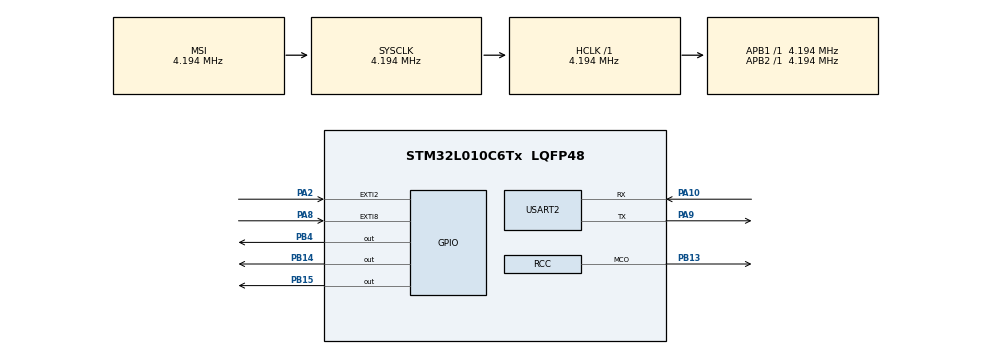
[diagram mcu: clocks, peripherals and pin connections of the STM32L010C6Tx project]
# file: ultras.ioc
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Mcu.Family=STM32L0
Mcu.Name=STM32L010C6Tx
Mcu.Package=LQFP48
NVIC.EXTI2_3_IRQn=true\:0\:0\:false\:false\:true\:true\:true
NVIC.EXTI4_15_IRQn=true\:0\:0\:false\:false\:true\:true\:true
NVIC.TIM21_IRQn=true\:0\:0\:false\:false\:true\:true\:true
NVIC.USART2_IRQn=true\:0\:0\:false\:false\:true\:true\:true
PA10.Mode=Asynchronous
PA10.Signal=USART2_RX
PA13.Mode=Serial_Wire
PA13.Signal=SYS_SWDIO
PA14.Mode=Serial_Wire
PA14.Signal=SYS_SWCLK
PA2.GPIO_ModeDefaultEXTI=GPIO_MODE_IT_RISING
PA2.GPIO_PuPd=GPIO_PULLDOWN
PA2.Signal=GPXTI2
PA8.GPIO_ModeDefaultEXTI=GPIO_MODE_IT_RISING_FALLING
PA8.GPIO_PuPd=GPIO_PULLDOWN
PA8.Signal=GPXTI8
PA9.Mode=Asynchronous
PA9.Signal=USART2_TX
PB13.Mode=Clock-out
PB13.Signal=RCC_MCO
PB14.GPIO_PuPd=GPIO_PULLDOWN
PB14.Signal=GPIO_Output
PB15.GPIO_ModeDefaultOutputPP=GPIO_MODE_OUTPUT_PP
PB15.GPIO_PuPd=GPIO_PULLDOWN
PB15.GPIO_Speed=GPIO_SPEED_FREQ_VERY_HIGH
PB15.Signal=GPIO_Output
PB4.Signal=GPIO_Output
PC14-OSC32_IN.Mode=LSE-External-Oscillator
PC14-OSC32_IN.Signal=RCC_OSC32_IN
PC15-OSC32_OUT.Mode=LSE-External-Oscillator
PC15-OSC32_OUT.Signal=RCC_OSC32_OUT
ProjectManager.HeapSize=0x200
ProjectManager.StackSize=0x400
ProjectManager.TargetToolchain=SW4STM32
RCC.AHBFreq_Value=4194000
RCC.APB1Freq_Value=4194000
RCC.APB1TimFreq_Value=4194000
RCC.APB2Freq_Value=4194000
RCC.APB2TimFreq_Value=4194000
RCC.HCLKFreq_Value=4194000
RCC.HSE_VALUE=8000000
RCC.HSI16_VALUE=16000000
RCC.HSI_VALUE=16000000
RCC.MSIClockRange=RCC_MSIRANGE_6
RCC.MSI_VALUE=4194000
RCC.RTCClockSelection=RCC_RTCCLKSOURCE_LSE
RCC.SYSCLKFreq_VALUE=4194000
RCC.VCOOutputFreq_Value=48000000
TIM21.AutoReloadPreload=TIM_AUTORELOAD_PRELOAD_ENABLE
TIM21.Period=0xff
USART2.VirtualMode=VM_ASYNC
VP_RTC_VS_RTC_Activate.Mode=RTC_Enabled
VP_TIM21_VS_ClockSourceINT.Mode=Internal
board=custom

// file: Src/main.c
/* USER CODE BEGIN Header */
/**
 ******************************************************************************
 * @file           : main.c
 * @brief          : Main program body
 ******************************************************************************
 * @attention
 *
 * <h2><center>&copy; Copyright (c) 2020 STMicroelectronics.
 * All rights reserved.</center></h2>
 *
 * This software component is licensed by ST under BSD 3-Clause license,
 * the "License"; You may not use this file except in compliance with the
 * License. You may obtain a copy of the License at:
 *                        opensource.org/licenses/BSD-3-Clause
 *
 ******************************************************************************
 */
/* USER CODE END Header */

#include "main.h"
#include "rtc.h"
#include "tim.h"
#include "usart.h"
#include "gpio.h"

/* USER CODE BEGIN Includes */
#include "stdio.h"
/* USER CODE END Includes */

/* USER CODE BEGIN PV */
extern int bMeasure;
extern int bTime21;
/* USER CODE END PV */

void SystemClock_Config(void);

/* USER CODE BEGIN 0 */
UART_HandleTypeDef huart2;
uint8_t bKeyDown = 0;
extern TIM_HandleTypeDef htim21;
extern int mCounter;
/* Private function prototypes -----------------------------------------------*/
#ifdef __GNUC__
/* With GCC, small printf (option LD Linker->Libraries->Small printf
 set to 'Yes') calls __io_putchar() */
#define PUTCHAR_PROTOTYPE int __io_putchar(int ch)
#else
#define PUTCHAR_PROTOTYPE int fputc(int ch, FILE *f)
#endif /* __GNUC__ */
/**
 * @brief  Retargets the C library printf function to the USART.
 * @param  None
 * @retval None
 */
PUTCHAR_PROTOTYPE {
	/* Place your implementation of fputc here */
	/* e.g. write a character to the USART2 and Loop until the end of transmission */
	HAL_UART_Transmit(&huart2, (uint8_t *) &ch, 1, 0xFFFF);

	return ch;
}
/* USER CODE END 0 */

int main(void)
{

  /* MCU Configuration--------------------------------------------------------*/

  /* Reset of all peripherals, Initializes the Flash interface and the Systick. */
  HAL_Init();

  /* USER CODE BEGIN Init */
  int nDistance = 0;
  /* USER CODE END Init */

  /* Configure the system clock */
  SystemClock_Config();

  /* Initialize all configured peripherals */
  MX_GPIO_Init();
  MX_RTC_Init();
  MX_USART2_UART_Init();
  MX_TIM21_Init();

  /* Infinite loop */
	while (1) {

    /* USER CODE BEGIN 3 */
		if (bKeyDown == 1) {
			printf("Key down\r\n");
			bKeyDown = 0;

			nDistance = get_Ultra_Sonic();
			printf("echo 2nd falling edge\r\n");
			printf("mCounter: %d\r\n",nDistance);
		}
		HAL_Delay(1000);
		printf(".\r\n");
	}
  /* USER CODE END 3 */
}

void SystemClock_Config(void)
{
  RCC_OscInitTypeDef RCC_OscInitStruct = {0};
  RCC_ClkInitTypeDef RCC_ClkInitStruct = {0};
  RCC_PeriphCLKInitTypeDef PeriphClkInit = {0};

  /** Configure the main internal regulator output voltage
  */
  __HAL_PWR_VOLTAGESCALING_CONFIG(PWR_REGULATOR_VOLTAGE_SCALE1);
  /** Configure LSE Drive Capability
  */
  HAL_PWR_EnableBkUpAccess();
  __HAL_RCC_LSEDRIVE_CONFIG(RCC_LSEDRIVE_LOW);
  /** Initializes the CPU, AHB and APB busses clocks
  */
  RCC_OscInitStruct.OscillatorType = RCC_OSCILLATORTYPE_LSE|RCC_OSCILLATORTYPE_MSI;
  RCC_OscInitStruct.LSEState = RCC_LSE_ON;
  RCC_OscInitStruct.MSIState = RCC_MSI_ON;
  RCC_OscInitStruct.MSICalibrationValue = 0;
  RCC_OscInitStruct.MSIClockRange = RCC_MSIRANGE_6;
  RCC_OscInitStruct.PLL.PLLState = RCC_PLL_NONE;
  if (HAL_RCC_OscConfig(&RCC_OscInitStruct) != HAL_OK)
  {
    Error_Handler();
  }
  /** Initializes the CPU, AHB and APB busses clocks
  */
  RCC_ClkInitStruct.ClockType = RCC_CLOCKTYPE_HCLK|RCC_CLOCKTYPE_SYSCLK
                              |RCC_CLOCKTYPE_PCLK1|RCC_CLOCKTYPE_PCLK2;
  RCC_ClkInitStruct.SYSCLKSource = RCC_SYSCLKSOURCE_MSI;
  RCC_ClkInitStruct.AHBCLKDivider = RCC_SYSCLK_DIV1;
  RCC_ClkInitStruct.APB1CLKDivider = RCC_HCLK_DIV1;
  RCC_ClkInitStruct.APB2CLKDivider = RCC_HCLK_DIV1;

  if (HAL_RCC_ClockConfig(&RCC_ClkInitStruct, FLASH_LATENCY_0) != HAL_OK)
  {
    Error_Handler();
  }
  PeriphClkInit.PeriphClockSelection = RCC_PERIPHCLK_USART2|RCC_PERIPHCLK_RTC;
  PeriphClkInit.Usart2ClockSelection = RCC_USART2CLKSOURCE_PCLK1;
  PeriphClkInit.RTCClockSelection = RCC_RTCCLKSOURCE_LSE;
  if (HAL_RCCEx_PeriphCLKConfig(&PeriphClkInit) != HAL_OK)
  {
    Error_Handler();
  }
  HAL_RCC_MCOConfig(RCC_MCO1, RCC_MCO1SOURCE_SYSCLK, RCC_MCODIV_1);
}

void Error_Handler(void)
{
}

/************************ (C) COPYRIGHT STMicroelectronics *****END OF FILE****/
